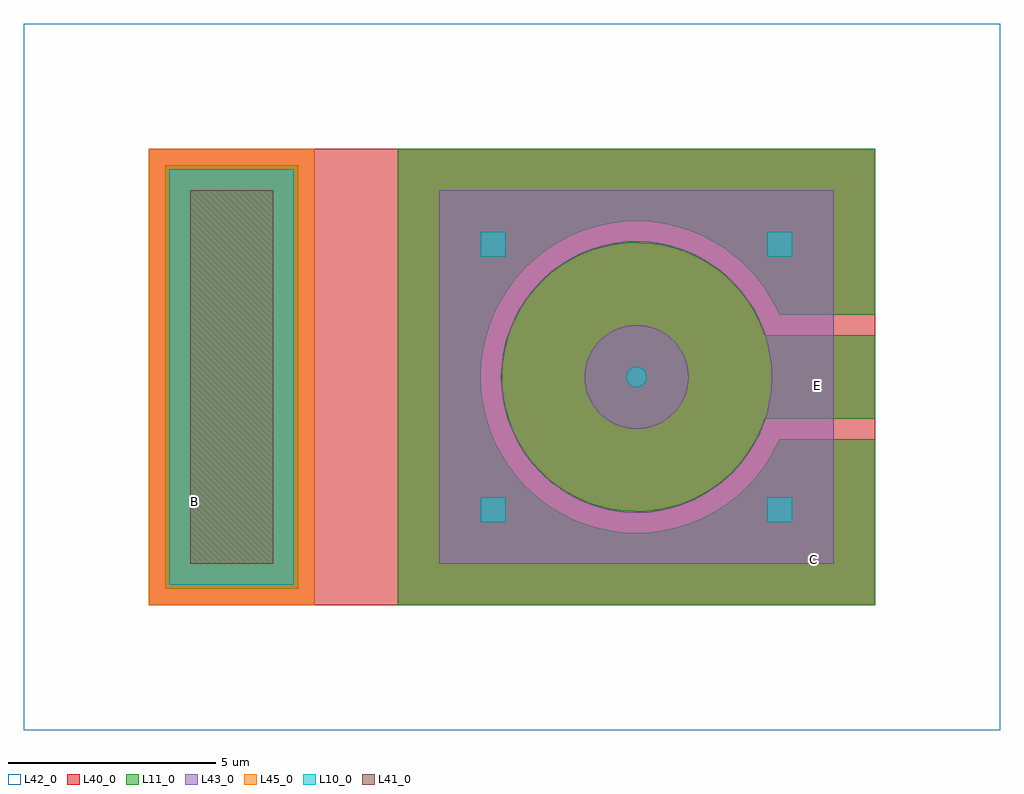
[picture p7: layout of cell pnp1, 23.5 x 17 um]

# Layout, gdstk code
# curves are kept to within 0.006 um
import gdstk
lib = gdstk.Library(unit=1e-6, precision=1e-09)
def R(c, l, rs):  # rectangles x0, y0, x1, y1
    for r in rs: c.add(gdstk.rectangle(r[:2], r[2:], *l))
def P(c, l, *ps):  # polygons
    for p in ps: c.add(gdstk.Polygon(p, *l))
L10_0 = (10, 0)
L11_0 = (11, 0)
L40_0 = (40, 0)
L41_0 = (41, 0)
L42_0 = (42, 0)
L43_0 = (43, 0)
L45_0 = (45, 0)

pnp1 = lib.new_cell('pnp1')
R(pnp1, L10_0, [(3.5,3.5,6.5,13.5), (11,5,11.6,5.6), (17.9,5,18.5,5.6), (11,11.4,11.6,12), (17.9,11.4,18.5,12)])
P(pnp1, L10_0, [(15,8.5),(14.977,8.606),(14.927,8.677),(14.856,8.727),(14.75,8.75),(14.644,8.727),(14.573,8.677),(14.523,8.606),(14.5,8.5),(14.523,8.394),(14.573,8.323),(14.644,8.273),(14.75,8.25),(14.856,8.273),(14.927,8.323),(14.977,8.394)])
R(pnp1, L11_0, [(3.4,3.4,6.6,13.6)])
P(pnp1, L11_0, [(14.8,11.75),(14.517,11.742),(14.235,11.709),(13.957,11.652),(13.685,11.571),(13.422,11.467),(13.168,11.34),(12.927,11.191),(12.699,11.022),(12.487,10.833),(12.292,10.627),(12.116,10.405),(11.96,10.168),(11.826,9.919),(11.713,9.659),(11.624,9.389),(11.558,9.114),(11.517,8.833),(11.5,8.55),(11.508,8.267),(11.541,7.985),(11.598,7.707),(11.679,7.435),(11.783,7.172),(11.91,6.918),(12.059,6.677),(12.228,6.449),(12.417,6.237),(12.623,6.042),(12.845,5.866),(13.082,5.71),(13.331,5.576),(13.591,5.463),(13.861,5.374),(14.136,5.308),(14.417,5.267),(14.7,5.25),(14.983,5.258),(15.265,5.291),(15.543,5.348),(15.815,5.429),(16.078,5.533),(16.332,5.66),(16.573,5.809),(16.801,5.978),(17.013,6.167),(17.208,6.373),(17.384,6.595),(17.54,6.832),(17.674,7.081),(17.787,7.341),(17.839,7.5),(20.5,7.5),(20.5,9.5),(17.84,9.5),(17.717,9.828),(17.59,10.082),(17.441,10.323),(17.272,10.551),(17.083,10.763),(16.877,10.958),(16.655,11.134),(16.418,11.29),(16.169,11.424),(15.909,11.537),(15.639,11.626),(15.364,11.692),(15.083,11.733)],
  [(20.5,14),(9,14),(9,3),(20.5,3),(20.5,7),(18.184,7),(18.149,6.915),(17.998,6.625),(17.822,6.349),(17.623,6.09),(17.402,5.848),(17.16,5.627),(16.901,5.428),(16.625,5.252),(16.335,5.101),(16.033,4.976),(15.721,4.878),(15.401,4.807),(15.077,4.764),(14.75,4.75),(14.423,4.764),(14.099,4.807),(13.779,4.878),(13.467,4.976),(13.165,5.101),(12.875,5.252),(12.599,5.428),(12.34,5.627),(12.098,5.848),(11.877,6.09),(11.678,6.349),(11.502,6.625),(11.351,6.915),(11.226,7.217),(11.128,7.529),(11.057,7.849),(11.014,8.173),(11,8.5),(11.014,8.827),(11.057,9.151),(11.128,9.471),(11.226,9.783),(11.351,10.085),(11.502,10.375),(11.678,10.651),(11.877,10.91),(12.098,11.152),(12.34,11.373),(12.599,11.572),(12.875,11.748),(13.165,11.899),(13.467,12.024),(13.779,12.122),(14.099,12.193),(14.423,12.236),(14.75,12.25),(15.077,12.236),(15.401,12.193),(15.721,12.122),(16.033,12.024),(16.335,11.899),(16.625,11.748),(16.901,11.572),(17.16,11.373),(17.402,11.152),(17.623,10.91),(17.822,10.651),(17.998,10.375),(18.149,10.085),(18.184,10),(20.5,10)])
R(pnp1, L40_0, [(3,3,20.5,14)])
R(pnp1, L41_0, [(4,4,6,13)])
R(pnp1, L42_0, [(0,0,23.5,17)])
P(pnp1, L43_0, [(19.5,13),(14.75,13),(14.75,11.753),(15.05,11.74),(15.346,11.696),(15.564,11.648),(15.806,11.579),(16.12,11.452),(16.409,11.299),(16.611,11.165),(16.817,11.017),(17.049,10.801),(17.264,10.57),(17.404,10.376),(17.554,10.153),(17.701,9.872),(17.834,9.542),(17.895,9.328),(17.949,9.086),(17.99,8.8),(18.003,8.503),(17.99,8.198),(17.95,7.921),(17.89,7.656),(17.837,7.47),(17.7,7.125),(17.55,6.842),(17.419,6.644),(17.254,6.418),(17.06,6.211),(16.825,5.99),(16.606,5.832),(16.409,5.701),(16.12,5.548),(15.806,5.421),(15.564,5.352),(15.346,5.304),(15.05,5.26),(14.75,5.247),(14.45,5.26),(14.154,5.304),(13.936,5.352),(13.694,5.421),(13.38,5.548),(13.091,5.701),(12.894,5.832),(12.675,5.99),(12.44,6.211),(12.246,6.417),(12.098,6.621),(11.946,6.847),(11.799,7.128),(11.664,7.467),(11.61,7.656),(11.55,7.921),(11.51,8.198),(11.497,8.497),(11.51,8.8),(11.551,9.086),(11.605,9.328),(11.666,9.542),(11.799,9.872),(11.946,10.153),(12.096,10.376),(12.236,10.57),(12.451,10.801),(12.683,11.017),(12.889,11.165),(13.091,11.299),(13.38,11.452),(13.694,11.579),(13.936,11.648),(14.154,11.696),(14.45,11.74),(14.75,11.753),(14.75,13),(10,13),(10,4),(19.5,4)],
  [(15.996,8.386),(15.996,8.614),(15.98,8.725),(15.936,8.9),(15.883,9.032),(15.828,9.137),(15.713,9.301),(15.551,9.463),(15.386,9.578),(15.282,9.633),(15.074,9.708),(14.865,9.746),(14.635,9.746),(14.526,9.73),(14.35,9.686),(14.218,9.633),(14.114,9.578),(13.949,9.463),(13.787,9.301),(13.672,9.137),(13.617,9.032),(13.564,8.9),(13.52,8.725),(13.504,8.614),(13.504,8.386),(13.52,8.275),(13.564,8.101),(13.617,7.968),(13.672,7.863),(13.787,7.699),(13.949,7.537),(14.114,7.422),(14.218,7.367),(14.426,7.292),(14.635,7.254),(14.865,7.254),(14.974,7.27),(15.15,7.314),(15.282,7.367),(15.386,7.422),(15.551,7.537),(15.713,7.699),(15.828,7.864),(15.883,7.968),(15.958,8.178)])
R(pnp1, L45_0, [(3,3,7,14)])
pnp1.add(gdstk.Label('B', (4.1,5.5), layer=11, texttype=0))
pnp1.add(gdstk.Label('C', (19,4.1), layer=11, texttype=0))
pnp1.add(gdstk.Label('E', (19.1,8.3), layer=11, texttype=0))

lib.write_gds('pnp1.gds')
